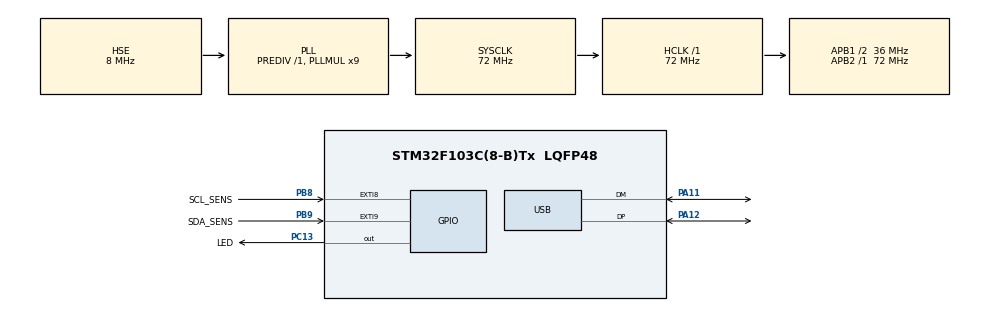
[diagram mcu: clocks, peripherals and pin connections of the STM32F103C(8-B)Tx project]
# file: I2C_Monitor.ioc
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Mcu.Family=STM32F1
Mcu.Name=STM32F103C(8-B)Tx
Mcu.Package=LQFP48
NVIC.EXTI9_5_IRQn=true\:0\:0\:false\:false\:true\:true\:true\:true
NVIC.PriorityGroup=NVIC_PRIORITYGROUP_4
NVIC.USB_LP_CAN1_RX0_IRQn=true\:0\:0\:false\:false\:true\:false\:true\:true
PA11.Mode=Device
PA11.Signal=USB_DM
PA12.Mode=Device
PA12.Signal=USB_DP
PA13.Mode=Serial_Wire
PA13.Signal=SYS_JTMS-SWDIO
PA14.Mode=Serial_Wire
PA14.Signal=SYS_JTCK-SWCLK
PB8.GPIO_Label=SCL_SENS
PB8.GPIO_ModeDefaultEXTI=GPIO_MODE_IT_RISING
PB8.GPIO_PuPd=GPIO_PULLUP
PB8.Signal=GPXTI8
PB9.GPIO_Label=SDA_SENS
PB9.GPIO_ModeDefaultEXTI=GPIO_MODE_IT_RISING_FALLING
PB9.GPIO_PuPd=GPIO_PULLUP
PB9.Signal=GPXTI9
PC13-TAMPER-RTC.GPIO_Label=LED
PC13-TAMPER-RTC.GPIO_ModeDefaultOutputPP=GPIO_MODE_OUTPUT_OD
PC13-TAMPER-RTC.GPIO_PuPd=GPIO_NOPULL
PC13-TAMPER-RTC.PinState=GPIO_PIN_SET
PC13-TAMPER-RTC.Signal=GPIO_Output
PD0-OSC_IN.Mode=HSE-External-Oscillator
PD0-OSC_IN.Signal=RCC_OSC_IN
PD1-OSC_OUT.Mode=HSE-External-Oscillator
PD1-OSC_OUT.Signal=RCC_OSC_OUT
ProjectManager.HeapSize=0x200
ProjectManager.StackSize=0x400
ProjectManager.TargetToolchain=STM32CubeIDE
RCC.AHBFreq_Value=72000000
RCC.APB1CLKDivider=RCC_HCLK_DIV2
RCC.APB1Freq_Value=36000000
RCC.APB1TimFreq_Value=72000000
RCC.APB2Freq_Value=72000000
RCC.APB2TimFreq_Value=72000000
RCC.HCLKFreq_Value=72000000
RCC.PLLMUL=RCC_PLL_MUL9
RCC.PLLSourceVirtual=RCC_PLLSOURCE_HSE
RCC.SYSCLKFreq_VALUE=72000000
RCC.SYSCLKSource=RCC_SYSCLKSOURCE_PLLCLK
RCC.USBFreq_Value=48000000
RCC.USBPrescaler=RCC_USBCLKSOURCE_PLL_DIV1_5
USB_DEVICE.CLASS_NAME_FS=CDC
USB_DEVICE.VirtualMode=Cdc
USB_DEVICE.VirtualModeFS=Cdc_FS
VP_USB_DEVICE_VS_USB_DEVICE_CDC_FS.Mode=CDC_FS
board=I2C_Monitor

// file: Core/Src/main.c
/* USER CODE BEGIN Header */
/**
  ******************************************************************************
  * @file           : main.c
  * @brief          : Main program body
  ******************************************************************************
  * @attention
  *
  * Copyright (c) 2022 STMicroelectronics.
  * All rights reserved.
  *
  * This software is licensed under terms that can be found in the LICENSE file
  * in the root directory of this software component.
  * If no LICENSE file comes with this software, it is provided AS-IS.
  *
  ******************************************************************************
  */
/* USER CODE END Header */
#include "main.h"
#include "usb_device.h"
#include "gpio.h"

/* USER CODE BEGIN Includes */
#include <string.h>
#include "usbd_cdc_if.h"
/* USER CODE END Includes */

/* USER CODE BEGIN PD */
#define RAW_I2C_BUFFER_SIZE 7000 // size in bytes (1 byte = 1 received I2C bit or START/STOP condition)
#define USB_TX_BUFFER_SIZE 256
/* USER CODE END PD */

/* USER CODE BEGIN PM */
#define USB_TX(A) strcpy(szUSBTxBuf, A); CDC_Transmit_FS((uint8_t*)szUSBTxBuf, (uint16_t) strlen(szUSBTxBuf)); HAL_Delay(1);
#define USB_TX_V(A,B) sprintf(szUSBTxBuf, A, B); CDC_Transmit_FS((uint8_t*)szUSBTxBuf, (uint16_t) strlen(szUSBTxBuf)); HAL_Delay(1);
/* USER CODE END PM */

/* USER CODE BEGIN PV */
char szUSBTxBuf[USB_TX_BUFFER_SIZE];
uint8_t rawI2CBuf[RAW_I2C_BUFFER_SIZE];
uint16_t rawI2CBufIdx = 0;   // the current writing position inside the buffer
/* USER CODE END PV */

void SystemClock_Config(void);
/* USER CODE BEGIN PFP */
void processAndTxData();
void setLED(uint8_t bOn);
/* USER CODE END PFP */

int main(void)
{

  /* MCU Configuration--------------------------------------------------------*/

  /* Reset of all peripherals, Initializes the Flash interface and the Systick. */
  HAL_Init();

  /* Configure the system clock */
  SystemClock_Config();

  /* Initialize all configured peripherals */
  MX_GPIO_Init();
  MX_USB_DEVICE_Init();
  /* USER CODE BEGIN 2 */
  for(int i=0;i<3;i++)
  {
	  HAL_Delay(250); setLED(1);
	  HAL_Delay(250); setLED(0);
  }

  USB_TX("I2C Monitor Started\r\n")

  /* USER CODE END 2 */

  /* Infinite loop */
  /* USER CODE BEGIN WHILE */
  while (1)
    {
  	  if(CDC_GetRxBufferBytesAvailable_FS())
  	  {
  			uint8_t rxBuf[10];
  			uint8_t ret = CDC_ReadRxBuffer_FS(rxBuf, 1);

  			if(ret==USB_CDC_RX_BUFFER_OK)
  			{
  				setLED(1);
  				switch(rxBuf[0])
  				{
  					case '?':
  						USB_TX("Commands: H=Hello, F=Fetch, C=Clear\r\n")
  						break;
  					case 'h':
  					case 'H':
  						USB_TX("HelloWorld\r\n")
  						for(int i=0;i<3;i++)
  						  {
  							  HAL_Delay(250); setLED(1);
  							  HAL_Delay(250); setLED(0);
  						  }
  						break;
  					case 'f':
  					case 'F':
  						USB_TX("\r\nTransfer Begin\r\n")
  						processAndTxData();
  						rawI2CBufIdx = 0;
  						USB_TX("\r\nTransfer End\r\n")
  						break;
  					case 'c':
  					case 'C':
  						rawI2CBufIdx = 0;
  						break;
  				}
  				setLED(0);
  			}

  			CDC_FlushRxBuffer_FS();
  	  }
    /* USER CODE END WHILE */

  }
}

void SystemClock_Config(void)
{
  RCC_OscInitTypeDef RCC_OscInitStruct = {0};
  RCC_ClkInitTypeDef RCC_ClkInitStruct = {0};
  RCC_PeriphCLKInitTypeDef PeriphClkInit = {0};

  /** Initializes the RCC Oscillators according to the specified parameters
  * in the RCC_OscInitTypeDef structure.
  */
  RCC_OscInitStruct.OscillatorType = RCC_OSCILLATORTYPE_HSE;
  RCC_OscInitStruct.HSEState = RCC_HSE_ON;
  RCC_OscInitStruct.HSEPredivValue = RCC_HSE_PREDIV_DIV1;
  RCC_OscInitStruct.HSIState = RCC_HSI_ON;
  RCC_OscInitStruct.PLL.PLLState = RCC_PLL_ON;
  RCC_OscInitStruct.PLL.PLLSource = RCC_PLLSOURCE_HSE;
  RCC_OscInitStruct.PLL.PLLMUL = RCC_PLL_MUL9;
  if (HAL_RCC_OscConfig(&RCC_OscInitStruct) != HAL_OK)
  {
    Error_Handler();
  }

  /** Initializes the CPU, AHB and APB buses clocks
  */
  RCC_ClkInitStruct.ClockType = RCC_CLOCKTYPE_HCLK|RCC_CLOCKTYPE_SYSCLK
                              |RCC_CLOCKTYPE_PCLK1|RCC_CLOCKTYPE_PCLK2;
  RCC_ClkInitStruct.SYSCLKSource = RCC_SYSCLKSOURCE_PLLCLK;
  RCC_ClkInitStruct.AHBCLKDivider = RCC_SYSCLK_DIV1;
  RCC_ClkInitStruct.APB1CLKDivider = RCC_HCLK_DIV2;
  RCC_ClkInitStruct.APB2CLKDivider = RCC_HCLK_DIV1;

  if (HAL_RCC_ClockConfig(&RCC_ClkInitStruct, FLASH_LATENCY_2) != HAL_OK)
  {
    Error_Handler();
  }
  PeriphClkInit.PeriphClockSelection = RCC_PERIPHCLK_USB;
  PeriphClkInit.UsbClockSelection = RCC_USBCLKSOURCE_PLL_DIV1_5;
  if (HAL_RCCEx_PeriphCLKConfig(&PeriphClkInit) != HAL_OK)
  {
    Error_Handler();
  }
}

/* USER CODE BEGIN 4 */

enum StateType
{
	stStart=0,
	stRptStart,
	stAddress,
	stRW,
	stAckNack,
	stData,
	stStop,
	stError,
};

void processAndTxData()
{
	uint8_t curDatum;
	uint8_t curBufIdx=0;
	enum StateType nState = stStart;
	uint8_t nDataToReadLeft = 0;
	uint8_t bAbort = 0;
	uint8_t bTempByte;
	uint8_t bShift;

	while ((curBufIdx <= rawI2CBufIdx) && !bAbort)
	{
		setLED(curBufIdx&0x1); //Toggle LED

		curDatum = rawI2CBuf[curBufIdx];

		bShift = 1;

		switch(nState)
		{
		case stStart:
		case stRptStart:
			if(curDatum=='B')
			{
				if(nState==stStart)
				{
					USB_TX("s ")
				}
				else // stRptStart
				{
					USB_TX("z ")
				}

				bTempByte = 0x0;
				nDataToReadLeft = 7;
				nState = stAddress;
			}
			break;
		case stAddress:
			if(curDatum=='H')
			{
				bTempByte |= 0x1<<(nDataToReadLeft-1);
			}
			else if(curDatum=='L')
			{
				// Do nothing
			}
			else
			{
				bShift = 0;
				nState = stError;
				break;
			}

			nDataToReadLeft -= 1;

			if(nDataToReadLeft==0)
			{
				USB_TX_V("0x%02X", bTempByte)
				nState = stRW;
			}
			break;
		case stRW:
			if(curDatum=='H')
			{
				USB_TX("r ")
			}
			else if(curDatum=='L')
			{
				USB_TX("w ")
			}
			else
			{
				bShift = 0;
				nState = stError;
				break;
			}

			nState = stAckNack;
			break;
		case stAckNack:
			if(curDatum=='H')
			{
				USB_TX("n ")
				nState = stStop;
			}
			else if(curDatum=='L')
			{
				USB_TX("a ")

				bTempByte = 0x0;
				nDataToReadLeft = 8;
				nState = stData;
			}
			else
			{
				bShift = 0;
				nState = stError;
				break;
			}
			break;
		case stData:
			if(curDatum=='H')
			{
				bTempByte |= 0x1<<(nDataToReadLeft-1);
			}
			else if(curDatum=='L')
			{
				// Do nothing
			}
			else if(curDatum=='B')
			{
				bShift = 0;
				nState = stRptStart;
			}
			else if(curDatum=='E')
			{
				bShift = 0;
				nState = stStop;
			}
			else
			{
				bShift = 0;
				nState = stError;
				break;
			}

			nDataToReadLeft -= 1;

			if(nDataToReadLeft==0)
			{
				USB_TX_V("0x%02X ", bTempByte)
				nState = stAckNack;
			}
			break;
		case stStop:
			if(curDatum=='E')
			{
				USB_TX("p\r\n")

				nState = stStart;
			}
			else
			{
				// Do nothing until stop received
			}
			break;
		case stError:
			USB_TX_V("X:%c\r\n", curDatum)
			nState = stStart;
			break;
		}

		if(bShift)
		{
			curBufIdx += 1; // Shift Index
		}
	}
}

void HAL_GPIO_EXTI_Callback(uint16_t GPIO_Pin)
{
	if (rawI2CBufIdx < RAW_I2C_BUFFER_SIZE)
	{
		if(GPIO_Pin==SDA_SENS_Pin)
		{
			if(HAL_GPIO_ReadPin(SCL_SENS_GPIO_Port, SCL_SENS_Pin)) // Start & Stop can only happen during SCL is HIGH
			{
				rawI2CBuf[rawI2CBufIdx] = HAL_GPIO_ReadPin(SDA_SENS_GPIO_Port, SDA_SENS_Pin)?'E':'B'; // B=Start, E=Stop
			}
			else
			{
				return;
			}
		}
		else if(GPIO_Pin==SCL_SENS_Pin)
		{
			rawI2CBuf[rawI2CBufIdx] = HAL_GPIO_ReadPin(SDA_SENS_GPIO_Port, SDA_SENS_Pin)?'H':'L'; // H=High, L=Low
		}
		else
		{
			return;
		}

		rawI2CBufIdx += 1;
	}
}

void setLED(uint8_t bOn)
{
	HAL_GPIO_WritePin(LED_GPIO_Port, LED_Pin, bOn? GPIO_PIN_RESET:GPIO_PIN_SET);
}
/* USER CODE END 4 */

void Error_Handler(void)
{
  __disable_irq();
  while (1)
  {
  }
}
